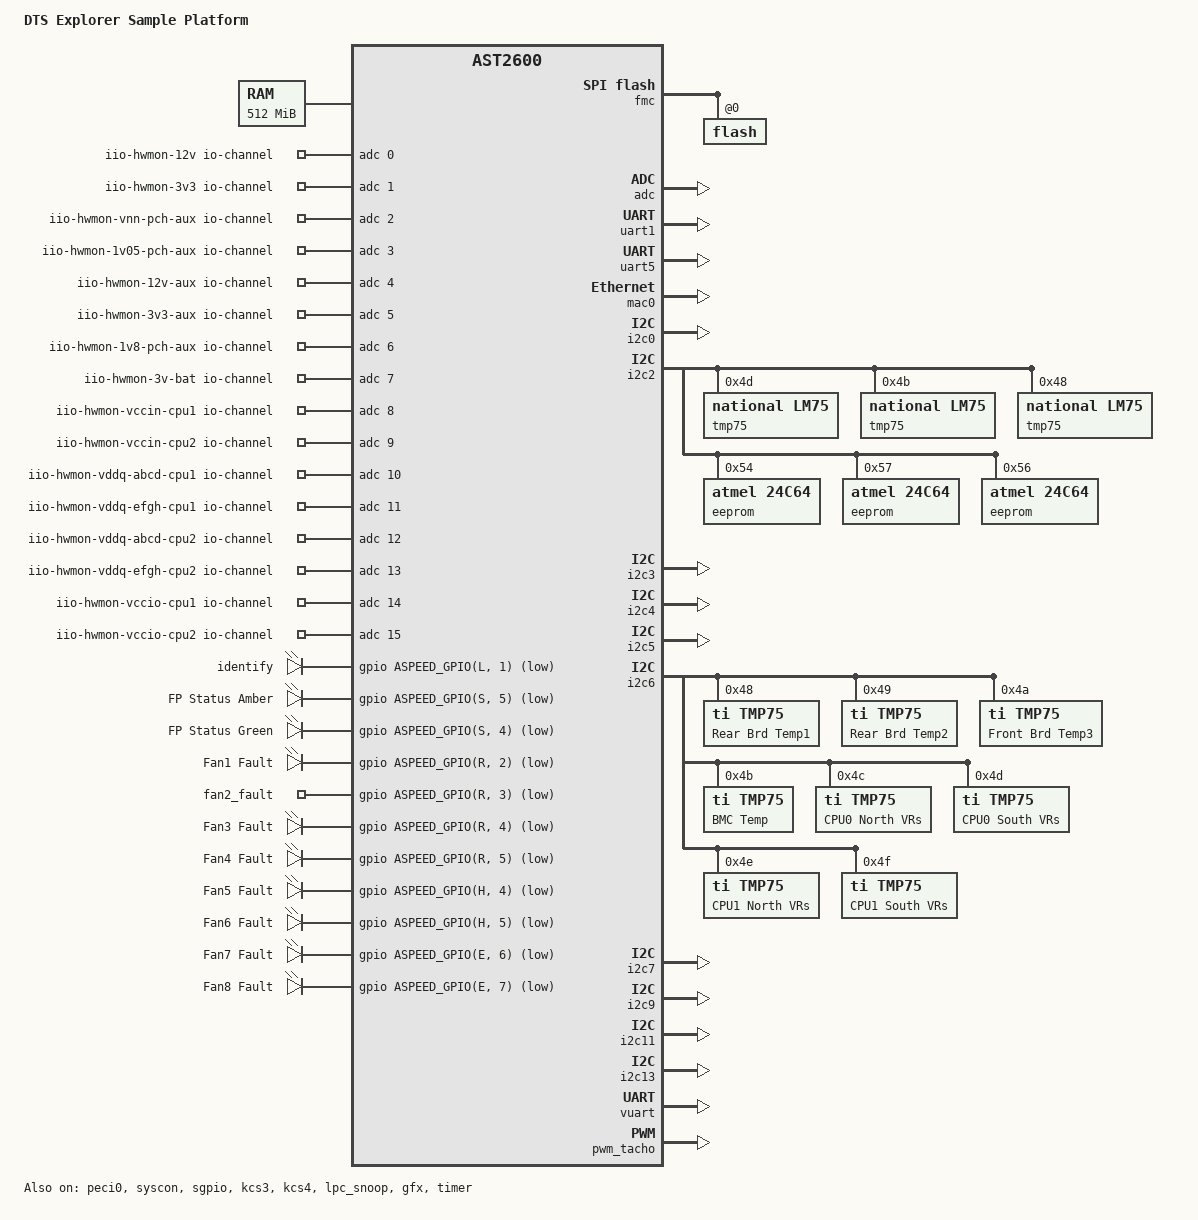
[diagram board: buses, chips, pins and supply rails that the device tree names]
/dts-v1/;

#include "aspeed-g6.dtsi"
#include <dt-bindings/gpio/aspeed-gpio.h>
#include <dt-bindings/i2c/i2c.h>

/ {
	model = "DTS Explorer Sample Platform";
	compatible = "jabil,ast2600-bmc", "aspeed,ast2600";

	aliases {
		serial4 = &uart5;
	};

	chosen {
		stdout-path = &uart5;
		bootargs = "console=ttyS4,115200 earlyprintk";
	};

	memory@80000000 {
		reg = <0x80000000 0x20000000>;
	};

	reserved-memory {
		#address-cells = <1>;
		#size-cells = <1>;
		ranges;

                flash_memory: region@98000000 {
            		no-map;
            		reg = <0x98000000 0x04000000>; /* 64M */
        	};
		vga_memory: framebuffer@7f000000 {
			no-map;
			reg = <0x7f000000 0x01000000>;
		};

		gfx_memory: framebuffer {
			size = <0x01000000>;
			alignment = <0x01000000>;
			compatible = "shared-dma-pool";
			reusable;
		};
		vga-shared-memory {
			compatible = "aspeed,ast2500-vga-sharedmem";
			reg = <0x9ff00000 0x100000>;
		};

        	safs_memory: region@30000000 {
            		no-map;
            		reg = <0x30000000 0x08000000>; /* 128M */
		};

	};

	iio-hwmon-12v {
		compatible = "iio-hwmon";
		io-channels = <&adc 0>;
	};

	iio-hwmon-3v3 {
		compatible = "iio-hwmon";
		io-channels = <&adc 1>;
	};

	iio-hwmon-vnn-pch-aux {
		compatible = "iio-hwmon";
		io-channels = <&adc 2>;
	};

	iio-hwmon-1v05-pch-aux {
		compatible = "iio-hwmon";
		io-channels = <&adc 3>;
	};

	iio-hwmon-12v-aux {
		compatible = "iio-hwmon";
		io-channels = <&adc 4>;
	};

	iio-hwmon-3v3-aux {
		compatible = "iio-hwmon";
		io-channels = <&adc 5>;
	};

	iio-hwmon-1v8-pch-aux {
		compatible = "iio-hwmon";
		io-channels = <&adc 6>;
	};

	iio-hwmon-3v-bat {
		compatible = "iio-hwmon";
		io-channels = <&adc 7>;
	};

	iio-hwmon-vccin-cpu1 {
		compatible = "iio-hwmon";
		io-channels = <&adc 8>;
	};

	iio-hwmon-vccin-cpu2 {
		compatible = "iio-hwmon";
		io-channels = <&adc 9>;
	};

	iio-hwmon-vddq-abcd-cpu1 {
		compatible = "iio-hwmon";
		io-channels = <&adc 10>;
	};

	iio-hwmon-vddq-efgh-cpu1 {
		compatible = "iio-hwmon";
		io-channels = <&adc 11>;
	};

	iio-hwmon-vddq-abcd-cpu2 {
		compatible = "iio-hwmon";
		io-channels = <&adc 12>;
	};

	iio-hwmon-vddq-efgh-cpu2 {
		compatible = "iio-hwmon";
		io-channels = <&adc 13>;
	};

	iio-hwmon-vccio-cpu1 {
		compatible = "iio-hwmon";
		io-channels = <&adc 14>;
	};

	iio-hwmon-vccio-cpu2 {
		compatible = "iio-hwmon";
		io-channels = <&adc 15>;
	};
	
	leds {
		compatible = "gpio-leds";

		identify {
			
			default-state = "on";
			gpios = <&gpio ASPEED_GPIO(L, 1) GPIO_ACTIVE_LOW>;
		};

		status_amber {
			label = "FP Status Amber";
			default-state = "off"; 
			gpios = <&gpio ASPEED_GPIO(S, 5) GPIO_ACTIVE_LOW>;
		};

		status_green {
			label = "FP Status Green";
			default-state = "keep";
			gpios = <&gpio ASPEED_GPIO(S, 4) GPIO_ACTIVE_LOW>;
		};
		
		fan1_fault {
			label = "Fan1 Fault";
			default-state = "off"; 
			gpios = <&gpio ASPEED_GPIO(R, 2) GPIO_ACTIVE_LOW>;
		};

		fan2_fault {
			.label = "Fan2 Fault";
			default-state = "off"; 
			gpios = <&gpio ASPEED_GPIO(R, 3) GPIO_ACTIVE_LOW>;
		};

		fan3_fault {
			label = "Fan3 Fault";
			default-state = "off"; 
			gpios = <&gpio ASPEED_GPIO(R, 4) GPIO_ACTIVE_LOW>;
		};

		fan4_fault {
			label = "Fan4 Fault";
			default-state = "off"; 
			gpios = <&gpio ASPEED_GPIO(R, 5) GPIO_ACTIVE_LOW>;
		};

		fan5_fault {
			label = "Fan5 Fault";
			default-state = "off"; 
			gpios = <&gpio ASPEED_GPIO(H, 4) GPIO_ACTIVE_LOW>;
		};
		fan6_fault {
			label = "Fan6 Fault";
			default-state = "off"; 
			gpios = <&gpio ASPEED_GPIO(H, 5) GPIO_ACTIVE_LOW>;
		};
		fan7_fault {
			label = "Fan7 Fault";
			default-state = "off"; 
			gpios = <&gpio ASPEED_GPIO(E, 6) GPIO_ACTIVE_LOW>;
		};
		fan8_fault {
			label = "Fan8 Fault";
			default-state = "off"; 
			gpios = <&gpio ASPEED_GPIO(E, 7) GPIO_ACTIVE_LOW>;
		};					
	};

};

&fmc {
	status = "okay";
	flash@0 {
		status = "okay";
		m25p,fast-read;
#include "openbmc-flash-layout-64M.dtsi"
	};
};
/*
&jtag {
	status = "okay";
};
*/

&peci0 {
	status = "okay";
};

&syscon {
	uart-clock-high-speed;
	status = "okay";

	misc_control {
		compatible = "aspeed,bmc-misc";
		uart_port_debug {
			offset = <0x2c>;
			bit-mask = <0x1>;
			bit-shift = <10>;
			read-only;
		};
		p2a-bridge {
			offset = <0x180>;
			bit-mask = <0x1>;
			bit-shift = <1>;
			read-only;
		};
		boot-2nd-flash {
			offset = <0x70>;
			bit-mask = <0x1>;
			bit-shift = <17>;
			read-only;
		};
		chip_id {
			offset = <0x150>;
			bit-mask = <0x0fffffff 0xffffffff>;
			bit-shift = <0>;
			read-only;
			reg-width = <64>;
			hash-data = "d44f9b804976fa23c2e25d62f16154d26520a7e24c5555095fd1b55c027804f1570dcd16189739c640cd7d9a6ce14944a2c4eaf1dc429eed6940e8a83498a474";
		};
	};
};

&adc {
	status = "okay";
};

&gpio { /* Mapped to Mt Elbert signals of interest */
	status = "okay";
	/* Enable GPIOE0 and GPIOE2 pass-through by default */
	pinctrl-names = "pass-through";
	pinctrl-0 = <&pinctrl_gpie0_default
			&pinctrl_gpie2_default
			&pinctrl_gpie4_default>;
	gpio-line-names =
	/*A0-A7*/	"FM_INTRUDER_HDR_BMC_N","","","","CPU1_THERMTRIP_N","CPU2_THERMTRIP_N","","FM_INTRUDER_HDR_BMC_N",
	/*B0-B7*/	"CPU1_PRSNT_R_N","CPU2_PRSNT_R_N","PSU1_PRSNT_R_N","PSU2_PRSNT_R_N","CPU1_MEMHOT_R_N","CPU2_MEMHOT_R_N","CPU1_PROCHOT","CPU2_PROCHOT",
	/*C0-C7*/	"FAN1_PRSNT_R_N","FAN2_PRSNT_R_N","FAN3_PRSNT_R_N","FAN4_PRSNT_R_N","FAN5_PRSNT_R_N","FAN6_PRSNT_R_N","FAN7_PRSNT_R_N","FAN8_PRSNT_R_N",
	/*D0-D7*/	"","","","","","","","",
	/*E0-E7*/	"BMC_RST_BTN_N","RST_BMC_RSTBTN_OUT_R_N","FP_BNC_PWR_BTN_R_N","FP_BNC_PWR_BTN_N","DBP_PRESENT_R2_N","FM_BMC_DBP_PRESENT_R_N","FAN7_FAULT_LED_R","FAN8_FAULT_LED_R",
	/*F0-F7*/	"IRQ_BMC_PCH_NMI_R","FM_CPU2_DISABLE_COD_N","FM_CPU1_MEMHOT_OUT_N","FM_CPU2_MEMHOT_OUT_N","FM_CPU_ERR0_LVT3_N","FM_CPU_ERR1_LVT3_N","RST_PLTRST_BMC_N","H_BMC_PRDY_R_N",	
	/*G0-G7*/	"FM_CPU_ERR2_LVT3_N","FM_CPU_MSMI_CATERR_LVT3_N","FM_PCH_BMC_THERMTRIP_N","","IRQ_NMI_EVENT_R_N","","BMC_RST_RTCRST","",	
	/*H0-H7*/	"CPLD_BMC_PWRGD_SYS_PWROK_R","","","","FAN5_FAULT_LED_R","FAN6_FAULT_LED_R","ALERT_THM_R_N","BMC_NMI_BTN_N",
	/*I0-I7*/	"","","","","","","","", 
	/*J0-J7*/	"","","","","","","","",
	/*K0-K7*/	"","","","","","","","",
	/*L0-L7*/	"UID_BTN_N","BMC_UID_LED_R_N","BMC_PWR_AMB_LED_R_N","RST_IPMB_SWITCH_R_N","","","","",
	/*M0-M7*/	"","","","","","","","",
	/*N0-N7*/	"","","","","","","","",
	/*O0-O7*/	"","","","","","","","",
	/*P0-P7*/	"","","","","","","","",
	/*Q0-Q7*/	"","","","","","","","",
	/*R0-R7*/	"","","FAN1_FAULT_LED_R","FAN2_FAULT_LED_R","FAN3_FAULT_LED_R","FAN4_FAULT_LED_R","","",	
	/*S0-S7*/	"FM_REMOTE_DEBUG_EN_R_DET","DBP_SYSPWROK_R","RST_RSMRST_BMC_N","FM_BMC_READY_N","FP_LED_STATUS_GREEN_N","FP_LED_STATUS_AMBER_N","","",
	/*T0-T7*/	"","","","","","","","",
	/*U0-U7*/	"","","","","","","","",
	/*V0-V7*/	"","","","","","","","",
	/*W0-W7*/	"","","","","","","","",
	/*X0-X7*/	"","","","","","","","",	
	/*Y0-Y7*/	"FP_SLPS3_R_N","FP_SLPS4_R_N","","FM_BMC_ONCTL_R_N","","","","",	
	/*Z0-Z7*/	"FM_BMC_PWR_BTN_N","","PHYSICAL_PRSNT_R_N","","","","","",
	/*AA0-AA7*/	"A_P3V_BAT_SCALED_EN","","","","DBP_CPU_PREQ_R_N","FM_JTAG_TCK_MUX_SEL_R","IRQ_SMI_ACTIVE_BMC_N","FM_BIOS_POST_CMPLT_BMC_N",
	/*AB0-AB7*/	"FM_BMC_BMCINIT_R","","","PWRGD_BMC_PS_PWROK_R","","","","",
	/*AC0-AC7*/	"","","","","","","","";
};

&sgpio {
	status = "okay";
	gpio-line-names =
	/* SGPIO output lines */
	/*OA0-OA7*/	"","","","","","","","",
	/*OB0-OB7*/	"","","","","","","","",
	/*OC0-OC7*/	"","","","","","","","",
	/*OD0-OD7*/	"","","","","","","","",
	/*OE0-OE7*/	"","","","","","","","",
	/*OF0-OF7*/	"","","","","","","","",
	/*OG0-OG7*/	"","","","","","","","",
	/*OH0-OH7*/	"","","","","","","","",
	/*OI0-OI7*/	"","","","","","","","",
	/*OJ0-OJ7*/	"SGPIO_BMC_CLK_R","SGPIO_BMC_LD_R_N","SGPIO_BMC_DOUT_R","SGPIO_BMC_DIN_R","","","","",
	/*DUMMY*/	"","","","","","","","",
	/*DUMMY*/	"","","","","","","","",

	/* SGPIO input lines */
	/*IA0-IA7*/	"","","","","","","","",
	/*IB0-IB7*/	"","","","","","","","",
	/*IC0-IC7*/	"","","","","","","","",
	/*ID0-ID7*/	"","","","","","","","",
	/*IE0-IE7*/	"","","","","","","","",
	/*IF0-IF7*/	"","","","","","","","",
	/*IG0-IG7*/	"","","","","","","","",
	/*IH0-IH7*/	"","","","","","","","",
	/*II0-II7*/	"","","","","","","","",
	/*IJ0-IJ7*/	"","","","","","","","";
};

&kcs3 {
	kcs_addr = <0xCA2>;
	status = "okay";
};

&kcs4 {
	kcs_addr = <0xCA4>;
	status = "okay";
};

&lpc_snoop {
	snoop-ports = <0x80>;
	status = "okay";
};

/**
 * SAFS through SPI1 is available only on Wilson Point.
 * These pins are used as fan presence checking gpios in WFP
 * so commenting it out for now.
 * &spi1 {
 *	status = "okay";
 *
 *	flash@0 {
 *		m25p,fast-read;
 *		status = "okay";
 *	};
 *};
 */


&uart1 {
	status = "okay";
};

&uart5 {
	status = "okay";
};

&mac0 {
	status = "okay";
	pinctrl-names = "default";
	pinctrl-0 = <&pinctrl_rgmii1_default &pinctrl_mdio1_default>;
};

&i2c0 {
	multi-master;
	general-call;
	aspeed,dma-buf-size = <4095>;
	aspeed,hw-timeout-ms = <300>;
	status = "okay";
};

&i2c2 {
	status = "okay";

	/* CPU1_Inlet */
	tmp75@4d {
		compatible = "national, lm75";
		reg = <0x4d>;
	};

	/* CPU2_Inlet */
	tmp75@4b {
		compatible = "national, lm75";
		reg = <0x4b>;
	};
	
	/* FP_Inlet_Temp */
	tmp75@48 {
		compatible = "national, lm75";
		reg = <0x48>;
	};
	/* Baseboard_FRU */
	eeprom@54 {
		compatible = "atmel,24c64";
		reg = <0x54>;	
	};
	/* FP FRU */
	eeprom@57 {
		compatible = "atmel,24c64";
		reg = <0x57>;
	};

};

&i2c2 {
	multi-master;
	aspeed,dma-buf-size = <4095>;
	aspeed,hw-timeout-ms = <300>;
	status = "okay";
	/* BIOS FRU */
	eeprom@56 {
		compatible = "atmel,24c64";
		reg = <0x56>;
	};

};

&i2c3 {
	multi-master;
	aspeed,dma-buf-size = <4095>;
	aspeed,hw-timeout-ms = <300>;
	status = "okay";
};

&i2c4 {
	multi-master;
	aspeed,dma-buf-size = <4095>;
	aspeed,hw-timeout-ms = <300>;
	status = "okay";
};

&i2c5 {
	bus-frequency = <1000000>;
	multi-master;
	aspeed,dma-buf-size = <4095>;
	aspeed,hw-timeout-ms = <300>;
	status = "okay";
};

&i2c6 {
	/* SMB_TEMPSENSOR_STBY_LVC3_R */
	multi-master;
	status = "okay";

	sensor@48 {
		compatible = "ti,tmp75";
		reg = <0x48>;
		label = "Rear Brd Temp1";
	};

	sensor@49 {
		compatible = "ti,tmp75";
		reg = <0x49>;
		label = "Rear Brd Temp2";
	};

	sensor@4a {
		compatible = "ti,tmp75";
		reg = <0x4a>;
		label = "Front Brd Temp3";
	};

	sensor@4b {
		compatible = "ti,tmp75";
		reg = <0x4b>;
		label = "BMC Temp";
	};

	sensor@4c {
		compatible = "ti,tmp75";
		reg = <0x4c>;
		label = "CPU0 North VRs";
	};

	sensor@4d {
		compatible = "ti,tmp75";
		reg = <0x4d>;
		label = "CPU0 South VRs";
	};

	sensor@4e {
		compatible = "ti,tmp75";
		reg = <0x4e>;
		label = "CPU1 North VRs";
	};

	sensor@4f {
		compatible = "ti,tmp75";
		reg = <0x4f>;
		label = "CPU1 South VRs";
	};
};


&i2c7 {
	multi-master;
	#retries = <3>;
	aspeed,dma-buf-size = <4095>;
	aspeed,hw-timeout-ms = <300>;
	status = "okay";
};

&i2c9 {
	multi-master;
	aspeed,dma-buf-size = <4095>;
	aspeed,hw-timeout-ms = <300>;
	status = "okay";
};

&i2c11 {
	multi-master;
	aspeed,dma-buf-size = <4095>;
	aspeed,hw-timeout-ms = <300>;
	status = "okay";
};

&i2c13 {
	multi-master;
	aspeed,dma-buf-size = <4095>;
	aspeed,hw-timeout-ms = <300>;
	status = "okay";
};

&gfx {
	status = "okay";
	memory-region = <&gfx_memory>;
};

&vuart {
	status = "okay";
};

&pwm_tacho {
	status = "okay";
	pinctrl-names = "default";
	pinctrl-0 = <&pinctrl_pwm0_default &pinctrl_pwm1_default
			 &pinctrl_pwm2_default &pinctrl_pwm3_default
			 &pinctrl_pwm4_default &pinctrl_pwm5_default
			 &pinctrl_pwm6_default &pinctrl_pwm7_default>;

	fan@0 {
		reg = <0x00>;
		aspeed,fan-tach-ch = /bits/ 8 <0x00 0x01>;
	};
	fan@1 {
		reg = <0x01>;
		aspeed,fan-tach-ch = /bits/ 8 <0x02 0x03>;
	};
	fan@2 {
		reg = <0x02>;
		aspeed,fan-tach-ch = /bits/ 8 <0x04 0x05>;
	};
	fan@3 {
		reg = <0x03>;
		aspeed,fan-tach-ch = /bits/ 8 <0x06 0x07>;
	};
	fan@4 {
		reg = <0x04>;
		aspeed,fan-tach-ch = /bits/ 8 <0x08 0x09>;
	};
	fan@5 {
		reg = <0x05>;
		aspeed,fan-tach-ch = /bits/ 8 <0x0A 0x0B>;
	};
	fan@6 {
		reg = <0x06>;
		aspeed,fan-tach-ch = /bits/ 8 <0x0C 0x0D>;
	};
	fan@7 {
		reg = <0x07>;
		aspeed,fan-tach-ch = /bits/ 8 <0x0E 0x0F>;
	};

};

&timer {
/*
 *	Available settings:
 *	fttmr010,pwm-outputs = <5>, <6>, <7>, <8>;
 *	pinctrl-0 = <&pinctrl_timer5_default &pinctrl_timer6_default
 *			&pinctrl_timer7_default &pinctrl_timer8_default>;
 */
	fttmr010,pwm-outputs = <6>;
	pinctrl-names = "default";
	pinctrl-0 = <&pinctrl_timer6_default>;
	#pwm-cells = <3>;
	status = "okay";
};


